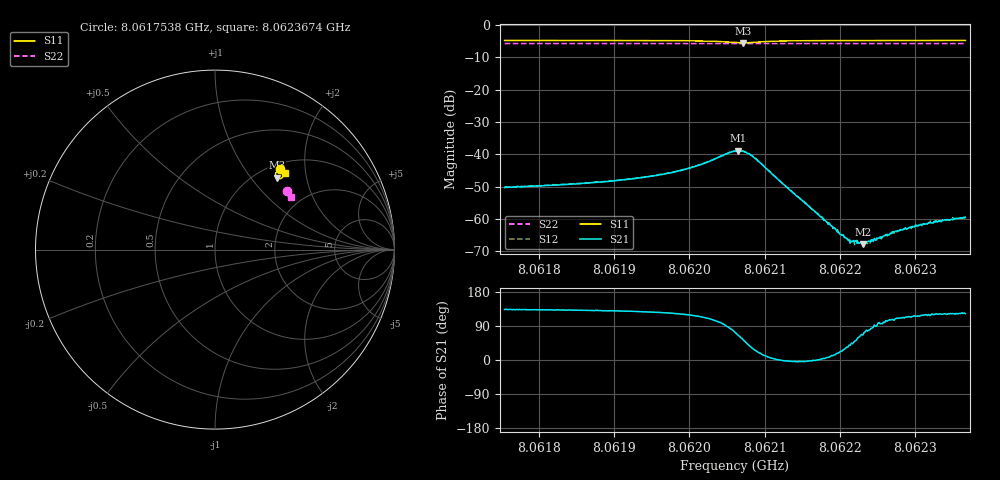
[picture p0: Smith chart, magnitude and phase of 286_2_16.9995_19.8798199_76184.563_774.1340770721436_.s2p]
#  HZ  S  RI  R  50.00
! Rohde & Schwarz Vector Network Analyzer
! Rohde-Schwarz,ZNB20-2Port,1311601062101988,3.16
! Created: UTC 3/20/2024, 11:04:54 PM
! freq[Hz]  re:S11  im:S11  re:S21  im:S21  re:S12  im:S12  re:S22  im:S22
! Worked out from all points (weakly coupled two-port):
!   401 points, 8.0617538 GHz to 8.0623674 GHz, reference 50 ohm
!   highest |S21| = -38.90 dB at 8.0620652 GHz (marker M1); lowest = -67.7 dB at 8.0622309 GHz (marker M2)
!   lowest |S11| = -5.5 dB at 8.0620713 GHz (marker M3), VSWR 3.24, Z = 61.1 + j67.9 ohm
!   |S11| at or under -10 dB: nowhere
!   |S22| runs from -5.8 to -5.7 dB; largest |S21 - S12| = 0.00086
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8.06175381e9  0.3614 0.4484  -0.0021 0.00222  -0.00204 0.00243  0.4009 0.3254
8.06185659e9  0.3685 0.4421  -0.00234 0.00268  -0.00219 0.00282  0.4049 0.3201
8.06191488e9  0.3732 0.4374  -0.00254 0.00315  -0.00239 0.00332  0.407 0.317
8.06195937e9  0.3771 0.4325  -0.00281 0.0039  -0.00257 0.00412  0.4088 0.3146
8.06200232e9  0.381 0.4236  -0.00294 0.00548  -0.00263 0.00572  0.4102 0.3123
8.06206061e9  0.3598 0.3947  0.0032 0.0106  0.00394 0.0106  0.4108 0.3084
8.06206521e9  0.3529 0.3956  0.00488 0.0103  0.00564 0.0101  0.4108 0.3083
8.06207135e9  0.3445 0.4004  0.00669 0.00896  0.0072 0.00851  0.4106 0.3085
8.06208055e9  0.3374 0.4125  0.00799 0.00588  0.00842 0.00545  0.4107 0.3086
8.06208669e9  0.3373 0.4207  0.00779 0.00394  0.00812 0.0035  0.4113 0.3087
8.06216339e9  0.3676 0.4384  0.00141 -5.95e-05  0.0014 -0.000166  0.4155 0.3054
8.0622002e9  0.3735 0.4361  0.000543 0.00021  0.000562 0.000177  0.4169 0.3033
8.06221094e9  0.3749 0.4353  0.000396 0.000266  0.000408 0.000235  0.4174 0.3028
8.06222322e9  0.3763 0.4345  0.000237 0.000347  0.000286 0.00037  0.4179 0.3021
8.06223088e9  0.3771 0.434  0.000167 0.000375  0.000174 0.000393  0.418 0.3018
8.06223702e9  0.3777 0.4335  0.000104 0.000431  0.000123 0.000399  0.4183 0.3016
8.06224469e9  0.3785 0.4331  2.81e-05 0.000448  5.74e-05 0.000451  0.4186 0.301
8.06226617e9  0.3804 0.4319  -0.000156 0.000549  -9.98e-05 0.00059  0.4193 0.2999
8.06229531e9  0.3828 0.4301  -0.000302 0.000692  -0.000272 0.000661  0.4204 0.2984
8.06231219e9  0.384 0.429  -0.000412 0.000741  -0.000357 0.000752  0.421 0.2975
8.06232446e9  0.3849 0.4284  -0.00043 0.000751  -0.000443 0.000787  0.4215 0.2969
8.06236741e9  0.3879 0.426  -0.000572 0.000901  -0.000501 0.00092  0.4231 0.2947
